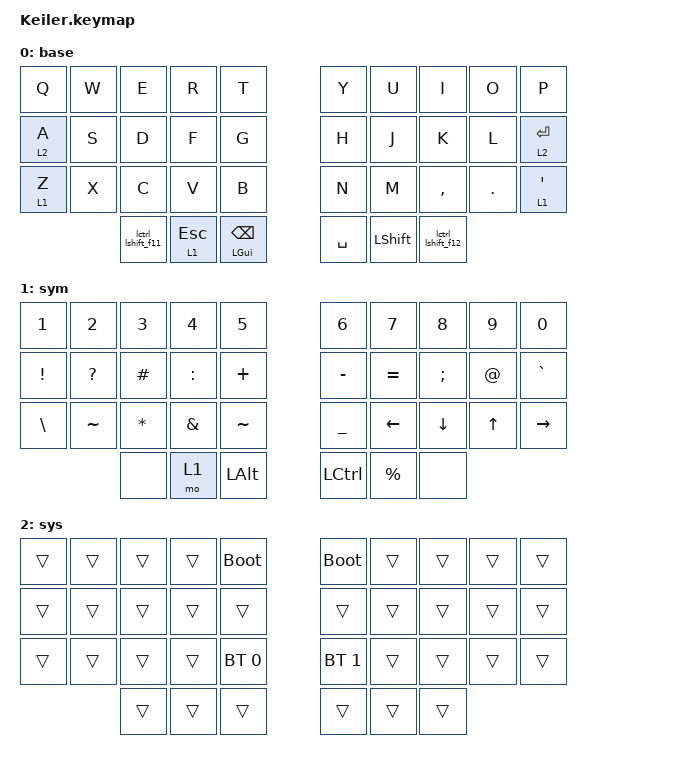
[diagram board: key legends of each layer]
// Copyright (c) 2022 The ZMK Contributors
// SPDX-License-Identifier: MIT

#include <behaviors.dtsi>
#include <dt-bindings/zmk/bt.h>
#include <dt-bindings/zmk/keys.h>

#define SYM 1
#define NUM 2

/* KEY POSITIONS

// ╭──────────────╮ ╭──────────────╮
// │ 0  1  2  3  4│ │ 5  6  7  8  9│
// │10 11 12 13 14│ │15 16 17 18 19│
// │20 21 22 23 24│ │25 26 27 28 29│
// ╰─────╮30 31 32│ │33 34 35╭─────╯
//       ╰────────╯ ╰────────╯

*/

&kscan0 {
    debounce-press-ms = <10>;
    debounce-release-ms = <15>;
};

&mt {
    flavor = "balanced";
    tapping_term_ms = <120>;
    quick-tap-ms = <200>;
};

&lt {
    flavor = "hold-preferred";
    tapping_term_ms = <120>;
    quick-tap-ms = <200>;
};

/ {
    macros {
        // Macro to send LCTRL + LSHIFT + F11
        // This is equivalent to &kp LCTL(LSFT(F11)) but using explicit macro steps

        lctrl_lshift_f11: lctrl_lshift_f11 {
            compatible = "zmk,behavior-macro";
            #binding-cells = <0>;
            wait-ms = <10>; // Small delay between actions, can be 0
            tap-ms = <10>;  // How long a "tap" is held, can be 0 for very quick taps
            bindings =
                <&macro_press>,
                <&kp LCTRL>,
                <&macro_press>,
                <&kp LSHFT>,
                <&macro_tap>,
                <&kp F11>,
                <&macro_release>,
                <&kp LSHFT>,
                <&macro_release>,
                <&kp LCTRL>;
        };

        // Macro to send LCTRL + LSHIFT + F12

        lctrl_lshift_f12: lctrl_lshift_f12 {
            compatible = "zmk,behavior-macro";
            #binding-cells = <0>;
            wait-ms = <10>;
            tap-ms = <10>;
            bindings =
                <&macro_press>,
                <&kp LCTRL>,
                <&macro_press>,
                <&kp LSHFT>,
                <&macro_tap>,
                <&kp F12>,
                <&macro_release>,
                <&kp LSHFT>,
                <&macro_release>,
                <&kp LCTRL>;
        };
    };

    behaviors {
        lm: lm {
            compatible = "zmk,behavior-macro-two-param";
            wait-ms = <0>;
            tap-ms = <0>;
            #binding-cells = <2>;
            bindings =
                <&macro_param_1to1>,
                <&macro_press>,
                <&mo MACRO_PLACEHOLDER &macro_param_2to1>,
                <&macro_press>,
                <&kp MACRO_PLACEHOLDER>,
                <&macro_pause_for_release>,
                <&macro_param_2to1>,
                <&macro_release>,
                <&kp MACRO_PLACEHOLDER &macro_param_1to1>,
                <&macro_release>,
                <&mo MACRO_PLACEHOLDER>;
        };

        enter: enter_mod {
            compatible = "zmk,behavior-hold-tap";
            #binding-cells = <2>;
            tapping-term-ms = <120>;
            quick-tap-ms = <0>;
            flavor = "tap-preferred";
            bindings = <&kp>, <&kp>;

            retro-tap;
        };
    };

    combos {
        compatible = "zmk,combos";

        combo_open_param {
            timeout-ms = <120>;
            key-positions = <22 23>;
            bindings = <&kp LPAR>;
        };

        combo_tick {
            timeout-ms = <120>;
            key-positions = <0 1>;
            bindings = <&kp GRAVE>;
        };

        combo_s_tab {
            timeout-ms = <120>;
            key-positions = <11 13>;
            bindings = <&kp TAB>;
        };

        combo_close_param {
            timeout-ms = <120>;
            key-positions = <26 27>;
            bindings = <&kp RPAR>;
        };

        combo_open_block {
            timeout-ms = <120>;
            key-positions = <21 22>;
            bindings = <&kp LBKT>;
        };

        combo_close_block {
            timeout-ms = <120>;
            key-positions = <27 28>;
            bindings = <&kp RBKT>;
        };

        combo_close_bracket {
            timeout-ms = <120>;
            key-positions = <28 29>;
            bindings = <&kp BSLH>;
        };

        combo_backslash {
            timeout-ms = <120>;
            key-positions = <20 21>;
            bindings = <&kp FSLH>;
        };
    };

    keymap {
        compatible = "zmk,keymap";

        base {
            bindings = <
  &kp Q    &kp W  &kp E              &kp R      &kp T            &kp Y      &kp U       &kp I              &kp O    &kp P
  &lt 2 A  &kp S  &kp D              &kp F      &kp G            &kp H      &kp J       &kp K              &kp L    &lt 2 RET
  &lt 1 Z  &kp X  &kp C              &kp V      &kp B            &kp N      &kp M       &kp COMMA          &kp DOT  &lt 1 SINGLE_QUOTE
                  &lctrl_lshift_f11  &lt 1 ESC  &mt LGUI BSPC    &kp SPACE  &kp LSHIFT  &lctrl_lshift_f12
            >;
        };

        sym {
            bindings = <
  &kp N1    &kp N2     &kp N3    &kp N4     &kp N5       &kp N6     &kp N7     &kp N8    &kp N9  &kp N0
  &kp EXCL  &kp QMARK  &kp HASH  &kp COLON  &kp PLUS     &kp MINUS  &kp EQUAL  &kp SEMI  &kp AT  &kp GRAVE
  &kp BSLH  &kp TILDE  &kp STAR  &kp AMPS   &kp TILDE    &kp UNDER  &kp LEFT   &kp DOWN  &kp UP  &kp RIGHT
                       &none     &mo 1      &kp LALT     &kp LCTRL  &kp PRCNT  &none
            >;
        };

        sys {
            bindings = <
  &trans  &trans  &trans  &trans  &bootloader     &bootloader   &trans  &trans  &trans  &trans
  &trans  &trans  &trans  &trans  &trans          &trans        &trans  &trans  &trans  &trans
  &trans  &trans  &trans  &trans  &bt BT_SEL 0    &bt BT_SEL 1  &trans  &trans  &trans  &trans
                  &trans  &trans  &trans          &trans        &trans  &trans
            >;
        };
    };
};

